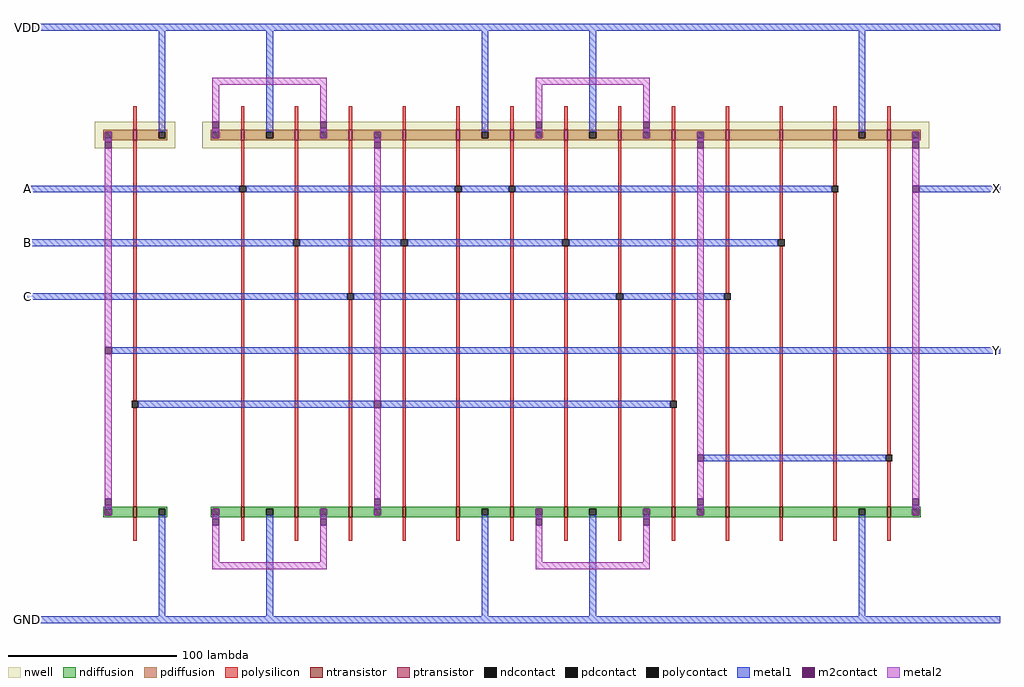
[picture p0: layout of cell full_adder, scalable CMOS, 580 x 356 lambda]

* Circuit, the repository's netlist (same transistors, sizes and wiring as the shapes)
* Schematic of full_adder (mirror full adder), 28 transistors.
* Written from the layout's extracted netlist, so the transistors are in the layout's
* order with its sizes; the internal nets have plain names, and, as in any schematic,
* every p-transistor's body is tied to VDD and every n-transistor's to GND.
.subckt full_adder VDD GND A B C X Y
M1 n1 n2 n3 VDD pfet w=6u l=2u
M2 n4 C GND GND nfet w=6u l=2u
M3 n4 A GND GND nfet w=6u l=2u
M4 n5 B VDD VDD pfet w=6u l=2u
M5 n6 B n7 VDD pfet w=6u l=2u
M6 VDD A n8 VDD pfet w=6u l=2u
M7 n3 C VDD VDD pfet w=6u l=2u
M8 GND A n9 GND nfet w=6u l=2u
M9 GND n2 Y GND nfet w=6u l=2u
M10 n2 C n10 GND nfet w=6u l=2u
M11 GND A n10 GND nfet w=6u l=2u
M12 GND A n11 GND nfet w=6u l=2u
M13 n1 n2 n4 GND nfet w=6u l=2u
M14 VDD n2 Y VDD pfet w=6u l=2u
M15 VDD A n5 VDD pfet w=6u l=2u
M16 n8 B n2 VDD pfet w=6u l=2u
M17 VDD B n3 VDD pfet w=6u l=2u
M18 X n1 VDD VDD pfet w=6u l=2u
M19 GND B n4 GND nfet w=6u l=2u
M20 n7 C n1 VDD pfet w=6u l=2u
M21 n9 B n2 GND nfet w=6u l=2u
M22 n10 B GND GND nfet w=6u l=2u
M23 X n1 GND GND nfet w=6u l=2u
M24 n11 B n12 GND nfet w=6u l=2u
M25 n12 C n1 GND nfet w=6u l=2u
M26 n2 C n5 VDD pfet w=6u l=2u
M27 n3 A VDD VDD pfet w=6u l=2u
M28 VDD A n6 VDD pfet w=6u l=2u
.ends

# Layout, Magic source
magic
tech scmos
<< nwell >>
rect 64 304 112 320
rect 128 304 560 320
<< polysilicon >>
rect 87 315 89 329
rect 151 315 153 329
rect 183 315 185 329
rect 215 315 217 329
rect 247 315 249 329
rect 279 315 281 329
rect 311 315 313 329
rect 343 315 345 329
rect 375 315 377 329
rect 407 315 409 329
rect 439 315 441 329
rect 471 315 473 329
rect 503 315 505 329
rect 535 315 537 329
rect 151 282 153 309
rect 279 282 281 309
rect 311 282 313 309
rect 503 282 505 309
rect 183 250 185 309
rect 247 250 249 309
rect 343 250 345 309
rect 471 250 473 309
rect 215 218 217 309
rect 375 218 377 309
rect 439 218 441 309
rect 87 154 89 309
rect 407 154 409 309
rect 535 122 537 309
rect 87 91 89 150
rect 151 91 153 278
rect 183 91 185 246
rect 215 91 217 214
rect 247 91 249 246
rect 279 91 281 278
rect 311 91 313 278
rect 343 91 345 246
rect 375 91 377 214
rect 407 91 409 150
rect 439 91 441 214
rect 471 91 473 246
rect 503 91 505 278
rect 535 91 537 118
rect 87 71 89 85
rect 151 71 153 85
rect 183 71 185 85
rect 215 71 217 85
rect 247 71 249 85
rect 279 71 281 85
rect 311 71 313 85
rect 343 71 345 85
rect 375 71 377 85
rect 407 71 409 85
rect 439 71 441 85
rect 471 71 473 85
rect 503 71 505 85
rect 535 71 537 85
<< ndiffusion >>
rect 69 90 87 91
rect 89 90 107 91
rect 133 90 151 91
rect 153 90 183 91
rect 185 90 215 91
rect 217 90 247 91
rect 281 90 311 91
rect 313 90 343 91
rect 345 90 375 91
rect 377 90 407 91
rect 409 90 439 91
rect 505 90 535 91
rect 537 90 555 91
rect 69 86 70 90
rect 74 86 87 90
rect 89 86 102 90
rect 106 86 107 90
rect 133 86 134 90
rect 138 86 151 90
rect 153 86 166 90
rect 170 86 183 90
rect 185 86 198 90
rect 202 86 215 90
rect 217 86 230 90
rect 234 86 247 90
rect 281 86 294 90
rect 298 86 311 90
rect 313 86 326 90
rect 330 86 343 90
rect 345 86 358 90
rect 362 86 375 90
rect 377 86 390 90
rect 394 86 407 90
rect 409 86 422 90
rect 426 86 439 90
rect 505 86 518 90
rect 522 86 535 90
rect 537 86 550 90
rect 554 86 555 90
rect 69 85 87 86
rect 89 85 107 86
rect 133 85 151 86
rect 153 85 183 86
rect 185 85 215 86
rect 217 85 247 86
rect 249 85 279 91
rect 281 85 311 86
rect 313 85 343 86
rect 345 85 375 86
rect 377 85 407 86
rect 409 85 439 86
rect 441 85 471 91
rect 473 85 503 91
rect 505 85 535 86
rect 537 85 555 86
<< pdiffusion >>
rect 69 314 87 315
rect 89 314 107 315
rect 133 314 151 315
rect 153 314 183 315
rect 185 314 215 315
rect 217 314 247 315
rect 281 314 311 315
rect 313 314 343 315
rect 345 314 375 315
rect 377 314 407 315
rect 409 314 439 315
rect 505 314 535 315
rect 537 314 555 315
rect 69 310 70 314
rect 74 310 87 314
rect 89 310 102 314
rect 106 310 107 314
rect 133 310 134 314
rect 138 310 151 314
rect 153 310 166 314
rect 170 310 183 314
rect 185 310 198 314
rect 202 310 215 314
rect 217 310 230 314
rect 234 310 247 314
rect 281 310 294 314
rect 298 310 311 314
rect 313 310 326 314
rect 330 310 343 314
rect 345 310 358 314
rect 362 310 375 314
rect 377 310 390 314
rect 394 310 407 314
rect 409 310 422 314
rect 426 310 439 314
rect 505 310 518 314
rect 522 310 535 314
rect 537 310 550 314
rect 554 310 555 314
rect 69 309 87 310
rect 89 309 107 310
rect 133 309 151 310
rect 153 309 183 310
rect 185 309 215 310
rect 217 309 247 310
rect 249 309 279 315
rect 281 309 311 310
rect 313 309 343 310
rect 345 309 375 310
rect 377 309 407 310
rect 409 309 439 310
rect 441 309 471 315
rect 473 309 503 315
rect 505 309 535 310
rect 537 309 555 310
<< ntransistor >>
rect 87 85 89 91
rect 151 85 153 91
rect 183 85 185 91
rect 215 85 217 91
rect 247 85 249 91
rect 279 85 281 91
rect 311 85 313 91
rect 343 85 345 91
rect 375 85 377 91
rect 407 85 409 91
rect 439 85 441 91
rect 471 85 473 91
rect 503 85 505 91
rect 535 85 537 91
<< ptransistor >>
rect 87 309 89 315
rect 151 309 153 315
rect 183 309 185 315
rect 215 309 217 315
rect 247 309 249 315
rect 279 309 281 315
rect 311 309 313 315
rect 343 309 345 315
rect 375 309 377 315
rect 407 309 409 315
rect 439 309 441 315
rect 471 309 473 315
rect 503 309 505 315
rect 535 309 537 315
<< ndcontact >>
rect 70 86 74 90
rect 102 86 106 90
rect 134 86 138 90
rect 166 86 170 90
rect 198 86 202 90
rect 230 86 234 90
rect 294 86 298 90
rect 326 86 330 90
rect 358 86 362 90
rect 390 86 394 90
rect 422 86 426 90
rect 518 86 522 90
rect 550 86 554 90
<< pdcontact >>
rect 70 310 74 314
rect 102 310 106 314
rect 134 310 138 314
rect 166 310 170 314
rect 198 310 202 314
rect 230 310 234 314
rect 294 310 298 314
rect 326 310 330 314
rect 358 310 362 314
rect 390 310 394 314
rect 422 310 426 314
rect 518 310 522 314
rect 550 310 554 314
<< polycontact >>
rect 150 278 154 282
rect 278 278 282 282
rect 310 278 314 282
rect 502 278 506 282
rect 182 246 186 250
rect 246 246 250 250
rect 342 246 346 250
rect 470 246 474 250
rect 214 214 218 218
rect 374 214 378 218
rect 438 214 442 218
rect 86 150 90 154
rect 406 150 410 154
rect 534 118 538 122
<< metal1 >>
rect 22 374 602 378
rect 102 314 106 374
rect 134 314 138 316
rect 166 314 170 374
rect 198 314 202 316
rect 294 314 298 374
rect 326 314 330 316
rect 358 314 362 374
rect 390 314 394 316
rect 518 314 522 374
rect 70 308 74 310
rect 230 308 234 310
rect 422 308 426 310
rect 550 308 554 310
rect 22 278 150 282
rect 154 278 278 282
rect 282 278 310 282
rect 314 278 502 282
rect 554 278 602 282
rect 22 246 182 250
rect 186 246 246 250
rect 250 246 342 250
rect 346 246 470 250
rect 22 214 214 218
rect 218 214 374 218
rect 378 214 438 218
rect 74 182 602 186
rect 90 150 230 154
rect 234 150 406 154
rect 426 118 534 122
rect 70 90 74 92
rect 230 90 234 92
rect 422 90 426 92
rect 550 90 554 92
rect 134 84 138 86
rect 198 84 202 86
rect 326 84 330 86
rect 390 84 394 86
rect 102 26 106 86
rect 166 26 170 86
rect 294 26 298 86
rect 358 26 362 86
rect 518 26 522 86
rect 22 22 602 26
<< m2contact >>
rect 134 316 138 320
rect 198 316 202 320
rect 326 316 330 320
rect 390 316 394 320
rect 70 304 74 308
rect 230 304 234 308
rect 422 304 426 308
rect 550 304 554 308
rect 550 278 554 282
rect 70 182 74 186
rect 230 150 234 154
rect 422 118 426 122
rect 70 92 74 96
rect 230 92 234 96
rect 422 92 426 96
rect 550 92 554 96
rect 134 80 138 84
rect 198 80 202 84
rect 326 80 330 84
rect 390 80 394 84
<< metal2 >>
rect 134 342 202 346
rect 326 342 394 346
rect 134 320 138 342
rect 198 320 202 342
rect 326 320 330 342
rect 390 320 394 342
rect 134 310 138 316
rect 198 310 202 316
rect 326 310 330 316
rect 390 310 394 316
rect 70 308 74 314
rect 230 308 234 314
rect 422 308 426 314
rect 550 308 554 314
rect 550 282 554 304
rect 70 186 74 304
rect 230 154 234 304
rect 422 122 426 304
rect 70 96 74 182
rect 230 96 234 150
rect 422 96 426 118
rect 550 96 554 278
rect 70 86 74 92
rect 230 86 234 92
rect 422 86 426 92
rect 550 86 554 92
rect 134 84 138 90
rect 198 84 202 90
rect 326 84 330 90
rect 390 84 394 90
rect 134 58 138 80
rect 198 58 202 80
rect 326 58 330 80
rect 390 58 394 80
rect 134 54 202 58
rect 326 54 394 58
<< labels >>
rlabel metal1 22 374 26 378 0 VDD
rlabel metal1 22 22 26 26 0 GND
rlabel metal1 22 278 26 282 0 A
rlabel metal1 22 246 26 250 0 B
rlabel metal1 22 214 26 218 0 C
rlabel metal1 598 278 602 282 0 X
rlabel metal1 598 182 602 186 0 Y
<< end >>
